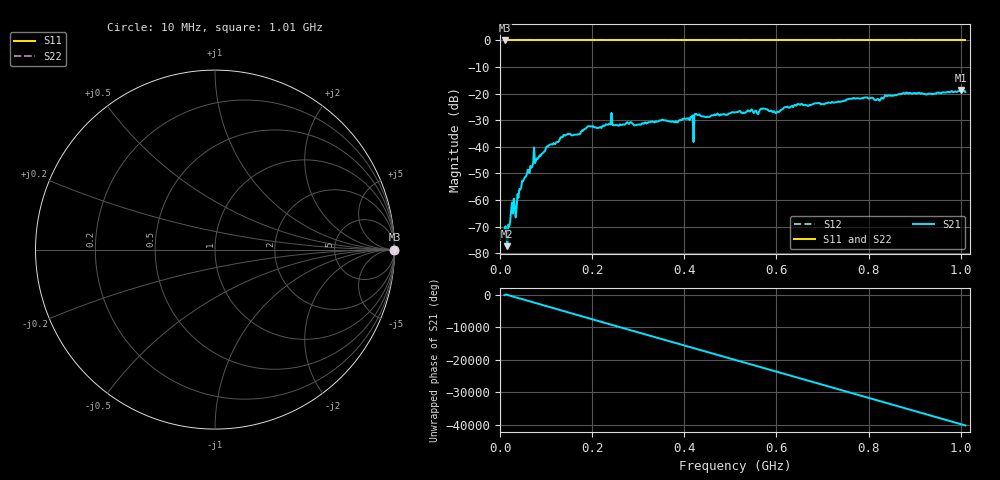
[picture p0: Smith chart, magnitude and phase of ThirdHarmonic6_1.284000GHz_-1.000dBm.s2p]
! 8/16/2025 1:59:58 PM
! C:\ANRITSUVNA\TEMP\TEMP.S2P
! CHANNEL.1
! TR.MEASUREMENT
! RAW.DATA
! RF.CORRECTION.OFF
! AVERAGING.OFF
! IF.BANDWIDTH: 5KHZ
! SWEEPTYPE:  FREQ.SWEEP(Linear)
! Reference Plane Port Info
! PORT:  PORT1  PORT2
! DISTANCE:  0  m  0  m
! TIME:  0  s  0  s
! PHASE.OFFSET:  0  deg.  0  deg.
! LOSS:  0  dB  0  dB
! REF.LOSS:  0  dB  0  dB
! REF.FREQ:  0  Hz  0  Hz
! Power Info
! POWER:  -20  dBm  -20  dBm
! EFF.POWER:  -20  dBm  -20  dBm
! SOURCE.ATTEN:  0  dB  0  dB
! TEST.ATTEN:  0  dB  0  dB
# GHZ S RI R 50.0
! FREQ.GHZ  S11RE  S11IM  S21RE  S21IM  S12RE  S12IM  S22RE  S22IM
!; PortSelection: Port_12
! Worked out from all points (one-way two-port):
!   501 points, 10 MHz to 1.01 GHz, reference 50 ohm
!   highest |S21| = -18.61 dB at 1 GHz (marker M1); lowest = -77.4 dB at 16 MHz (marker M2)
!   lowest |S11| = 0.0 dB at 10 MHz (marker M3)
!   |S11| at or under -10 dB: nowhere
!   |S22| runs from 0.0 to 0.0 dB; largest |S21 - S12| = 1.1
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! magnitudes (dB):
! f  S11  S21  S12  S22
! 10 MHz  0.0  -71.0  0.0  0.0
! 16 MHz  0.0  -77.4  0.0  0.0
! 28 MHz  0.0  -65.1  0.0  0.0
! 36 MHz  0.0  -62.9  0.0  0.0
! 46 MHz  0.0  -55.3  0.0  0.0
! 70 MHz  0.0  -47.5  0.0  0.0
! 136 MHz  0.0  -36.3  0.0  0.0
! 178 MHz  0.0  -33.8  0.0  0.0
! 238 MHz  0.0  -31.4  0.0  0.0
! 296 MHz  0.0  -31.8  0.0  0.0
! 344 MHz  0.0  -30.4  0.0  0.0
! 414 MHz  0.0  -28.7  0.0  0.0
! 416 MHz  0.0  -28.8  0.0  0.0
! 424 MHz  0.0  -27.7  0.0  0.0
! 426 MHz  0.0  -27.6  0.0  0.0
! 510 MHz  0.0  -27.0  0.0  0.0
! 572 MHz  0.0  -25.6  0.0  0.0
! 602 MHz  0.0  -26.7  0.0  0.0
! 678 MHz  0.0  -24.0  0.0  0.0
! 844 MHz  0.0  -20.6  0.0  0.0
! 1 GHz  0.0  -18.6  0.0  0.0
! 1.01 GHz  0.0  -19.4  0.0  0.0
